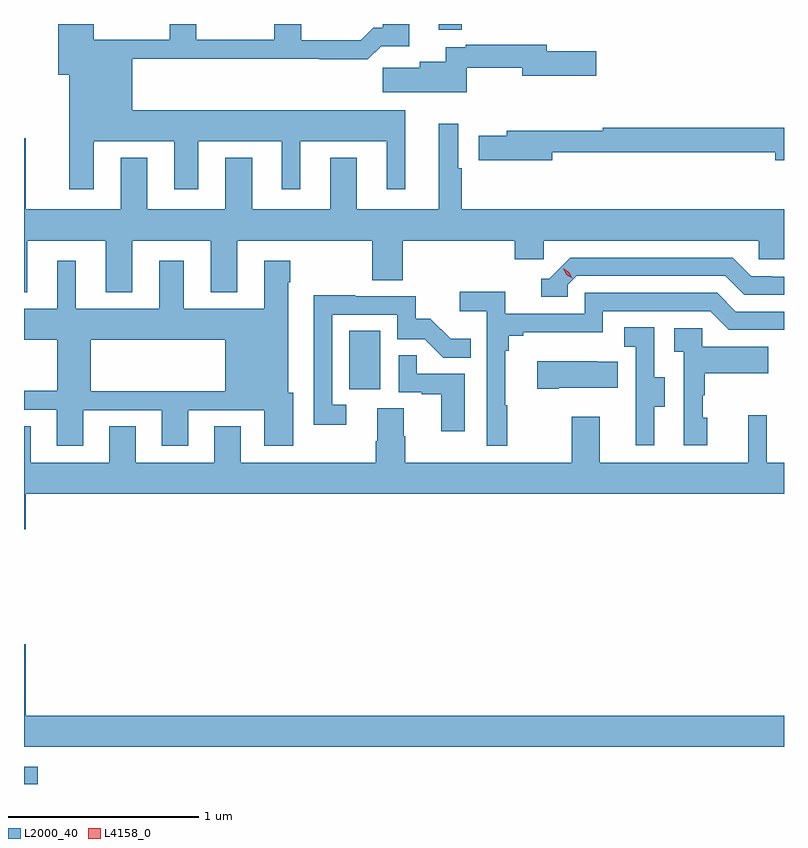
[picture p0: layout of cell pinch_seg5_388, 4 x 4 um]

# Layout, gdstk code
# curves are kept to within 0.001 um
import gdstk
lib = gdstk.Library(unit=1e-6, precision=1e-09)
def R(c, l, rs):  # rectangles x0, y0, x1, y1
    for r in rs: c.add(gdstk.rectangle(r[:2], r[2:], *l))
def P(c, l, *ps):  # polygons
    for p in ps: c.add(gdstk.Polygon(p, *l))
L2000_40 = (2000, 40)
L4158_0 = (4158, 0)

pinch_seg5_388 = lib.new_cell('pinch_seg5_388')
R(pinch_seg5_388, L2000_40, [(980.347,865.888,980.42,865.978), (982.058,867.966,982.222,868.273), (982.529,869.859,982.651,869.888)])
P(pinch_seg5_388, L2000_40, [(980.713,869.27),(981.137,869.27),(981.137,869.019),(981.265,869.019),(981.265,869.27),(981.704,869.27),(981.704,869.019),(981.802,869.019),(981.802,869.27),(982.256,869.27),(982.256,869.019),(982.354,869.019),(982.354,869.434),(980.917,869.434),(980.917,869.704),(981.901,869.704),(981.901,869.702),(982.157,869.702),(982.226,869.771),(982.375,869.771),(982.375,869.888),(982.235,869.888),(982.235,869.869),(982.186,869.869),(982.119,869.802),(981.805,869.802),(981.805,869.888),(981.665,869.888),(981.665,869.805),(981.253,869.805),(981.253,869.888),(981.113,869.888),(981.113,869.805),(980.713,869.805),(980.713,869.888),(980.528,869.888),(980.528,869.621),(980.585,869.621),(980.585,869.019),(980.713,869.019)],
  [(982.678,869.658),(982.97,869.658),(982.97,869.615),(983.359,869.615),(983.359,869.745),(983.098,869.745),(983.098,869.779),(982.672,869.779),(982.672,869.766),(982.568,869.766),(982.568,869.689),(982.43,869.689),(982.43,869.657),(982.236,869.657),(982.236,869.528),(982.678,869.528)],
  [(980.365,868.748),(980.777,868.748),(980.777,868.475),(980.917,868.475),(980.917,868.748),(981.329,868.748),(981.329,868.475),(981.469,868.475),(981.469,868.748),(982.18,868.748),(982.18,868.54),(982.34,868.54),(982.34,868.748),(982.931,868.748),(982.931,868.65),(983.082,868.65),(983.082,868.748),(984.213,868.748),(984.213,868.65),(984.347,868.65),(984.347,868.912),(982.651,868.912),(982.651,869.129),(982.633,869.129),(982.633,869.362),(982.529,869.362),(982.529,868.912),(982.099,868.912),(982.099,869.185),(981.959,869.185),(981.959,868.912),(981.547,868.912),(981.547,869.185),(981.407,869.185),(981.407,868.912),(980.995,868.912),(980.995,869.185),(980.855,869.185),(980.855,868.912),(980.356,868.912),(980.356,869.287),(980.347,869.287),(980.347,868.475),(980.365,868.475)],
  [(983.128,869.214),(984.302,869.214),(984.302,869.171),(984.347,869.171),(984.347,869.342),(983.393,869.342),(983.393,869.327),(982.889,869.327),(982.889,869.301),(982.74,869.301),(982.74,869.171),(983.128,869.171)],
  [(983.208,868.515),(983.256,868.563),(984.039,868.563),(984.138,868.464),(984.347,868.464),(984.347,868.557),(984.282,868.557),(984.282,868.56),(984.175,868.56),(984.076,868.659),(983.223,868.659),(983.112,868.548),(983.069,868.548),(983.069,868.452),(983.208,868.452)],
  [(980.519,867.858),(980.519,867.669),(980.659,867.669),(980.659,867.855),(981.071,867.855),(981.071,867.669),(981.211,867.669),(981.211,867.855),(981.611,867.855),(981.611,867.669),(981.763,867.669),(981.763,867.948),(981.739,867.948),(981.739,868.529),(981.747,868.529),(981.747,868.642),(981.611,868.642),(981.611,868.39),(981.187,868.39),(981.187,868.642),(981.059,868.642),(981.059,868.39),(980.62,868.39),(980.62,868.642),(980.522,868.642),(980.522,868.39),(980.347,868.39),(980.347,868.226),(980.521,868.226),(980.521,867.959),(980.347,867.959),(980.347,867.956),(980.699,867.956),(980.699,868.226),(981.407,868.226),(981.407,867.956),(980.699,867.956),(980.347,867.956),(980.347,867.858)],
  [(982.891,867.881),(982.879,867.881),(982.879,868.169),(982.898,868.169),(982.898,868.246),(982.975,868.246),(982.975,868.265),(983.394,868.265),(983.394,868.377),(983.958,868.377),(984.057,868.278),(984.347,868.278),(984.347,868.374),(984.094,868.374),(983.995,868.473),(983.298,868.473),(983.298,868.362),(982.88,868.362),(982.88,868.478),(982.641,868.478),(982.641,868.376),(982.782,868.376),(982.782,867.669),(982.891,867.669)],
  [(982.042,867.885),(981.969,867.885),(981.969,868.359),(982.311,868.359),(982.311,868.23),(982.456,868.23),(982.554,868.132),(982.697,868.132),(982.697,868.231),(982.593,868.231),(982.486,868.338),(982.41,868.338),(982.41,868.455),(982.091,868.455),(982.091,868.46),(981.872,868.46),(981.873,867.78),(982.042,867.78)],
  [(983.665,867.874),(983.719,867.874),(983.719,868.029),(983.664,868.029),(983.664,868.292),(983.505,868.292),(983.505,868.189),(983.568,868.189),(983.568,867.885),(983.567,867.885),(983.567,867.672),(983.665,867.672)],
  [(983.944,867.816),(983.919,867.816),(983.919,867.935),(983.929,867.935),(983.929,868.049),(984.263,868.049),(984.263,868.189),(983.916,868.189),(983.916,868.287),(983.769,868.287),(983.769,868.163),(983.82,868.163),(983.82,867.672),(983.944,867.672)],
  [(982.666,868.047),(982.415,868.047),(982.415,868.145),(982.32,868.145),(982.32,867.951),(982.441,867.951),(982.441,867.939),(982.544,867.939),(982.544,867.744),(982.666,867.744)],
  [(983.161,867.974),(983.471,867.974),(983.471,868.111),(983.363,868.111),(983.363,868.114),(983.049,868.114),(983.049,867.967),(983.161,867.967)],
  [(984.347,867.58),(984.255,867.58),(984.255,867.829),(984.158,867.829),(984.158,867.58),(983.377,867.58),(983.377,867.82),(983.23,867.82),(983.23,867.58),(982.353,867.58),(982.353,867.717),(982.345,867.717),(982.345,867.866),(982.205,867.866),(982.205,867.692),(982.198,867.692),(982.198,867.58),(981.487,867.58),(981.487,867.77),(981.347,867.77),(981.347,867.58),(980.935,867.58),(980.935,867.77),(980.795,867.77),(980.795,867.58),(980.383,867.58),(980.383,867.77),(980.347,867.77),(980.347,867.228),(980.356,867.228),(980.356,867.416),(984.347,867.416)],
  [(984.347,866.248),(980.356,866.248),(980.356,866.623),(980.347,866.623),(980.347,866.084),(984.347,866.084)])
P(pinch_seg5_388, L4158_0, [(983.232,868.549),(983.201,868.569),(983.186,868.602),(983.186,868.602),(983.186,868.602),(983.216,868.582),(983.232,868.549),(983.232,868.549)])

lib.write_gds('pinch_seg5_388.gds')
